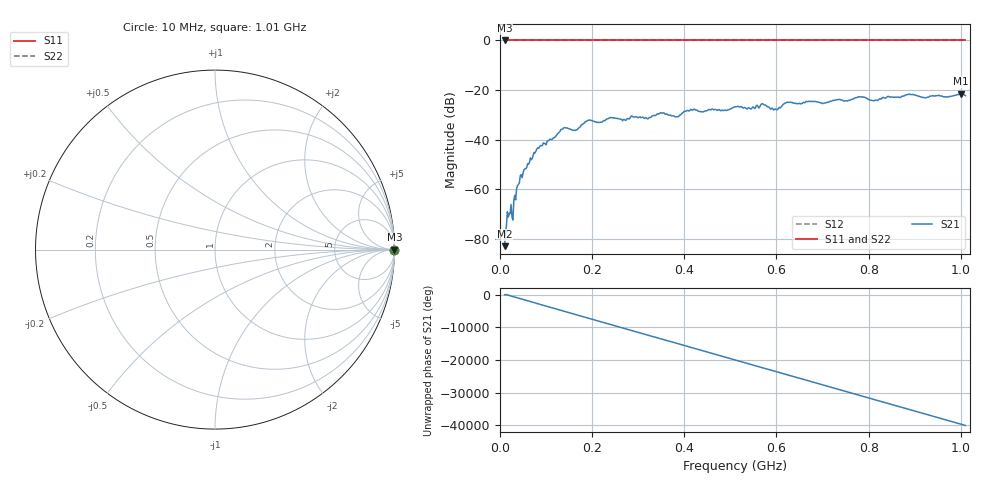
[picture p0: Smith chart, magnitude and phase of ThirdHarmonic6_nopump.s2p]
! 8/15/2025 3:00:22 PM
! C:\ANRITSUVNA\TEMP\TEMP.S2P
! CHANNEL.1
! TR.MEASUREMENT
! RAW.DATA
! RF.CORRECTION.OFF
! AVERAGING.OFF
! IF.BANDWIDTH: 5KHZ
! SWEEPTYPE:  FREQ.SWEEP(Linear)
! Reference Plane Port Info
! PORT:  PORT1  PORT2
! DISTANCE:  0  m  0  m
! TIME:  0  s  0  s
! PHASE.OFFSET:  0  deg.  0  deg.
! LOSS:  0  dB  0  dB
! REF.LOSS:  0  dB  0  dB
! REF.FREQ:  0  Hz  0  Hz
! Power Info
! POWER:  -20  dBm  -20  dBm
! EFF.POWER:  -20  dBm  -20  dBm
! SOURCE.ATTEN:  0  dB  0  dB
! TEST.ATTEN:  0  dB  0  dB
# GHZ S RI R 50.0
! FREQ.GHZ  S11RE  S11IM  S21RE  S21IM  S12RE  S12IM  S22RE  S22IM
!; PortSelection: Port_12
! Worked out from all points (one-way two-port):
!   501 points, 10 MHz to 1.01 GHz, reference 50 ohm
!   highest |S21| = -21.37 dB at 1 GHz (marker M1); lowest = -82.8 dB at 10 MHz (marker M2)
!   lowest |S11| = 0.0 dB at 10 MHz (marker M3)
!   |S11| at or under -10 dB: nowhere
!   |S22| runs from 0.0 to 0.0 dB; largest |S21 - S12| = 1.1
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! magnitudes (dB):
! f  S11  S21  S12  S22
! 10 MHz  0.0  -82.8  0.0  0.0
! 20 MHz  0.0  -69.7  0.0  0.0
! 24 MHz  0.0  -66.0  0.0  0.0
! 30 MHz  0.0  -64.6  0.0  0.0
! 34 MHz  0.0  -64.2  0.0  0.0
! 42 MHz  0.0  -57.4  0.0  0.0
! 78 MHz  0.0  -44.6  0.0  0.0
! 136 MHz  0.0  -35.7  0.0  0.0
! 164 MHz  0.0  -36.2  0.0  0.0
! 178 MHz  0.0  -33.8  0.0  0.0
! 192 MHz  0.0  -32.1  0.0  0.0
! 344 MHz  0.0  -29.7  0.0  0.0
! 384 MHz  0.0  -30.6  0.0  0.0
! 418 MHz  0.0  -28.1  0.0  0.0
! 510 MHz  0.0  -26.7  0.0  0.0
! 572 MHz  0.0  -25.8  0.0  0.0
! 598 MHz  0.0  -27.6  0.0  0.0
! 622 MHz  0.0  -25.0  0.0  0.0
! 678 MHz  0.0  -24.6  0.0  0.0
! 844 MHz  0.0  -22.6  0.0  0.0
! 1 GHz  0.0  -21.4  0.0  0.0
! 1.01 GHz  0.0  -22.2  0.0  0.0
